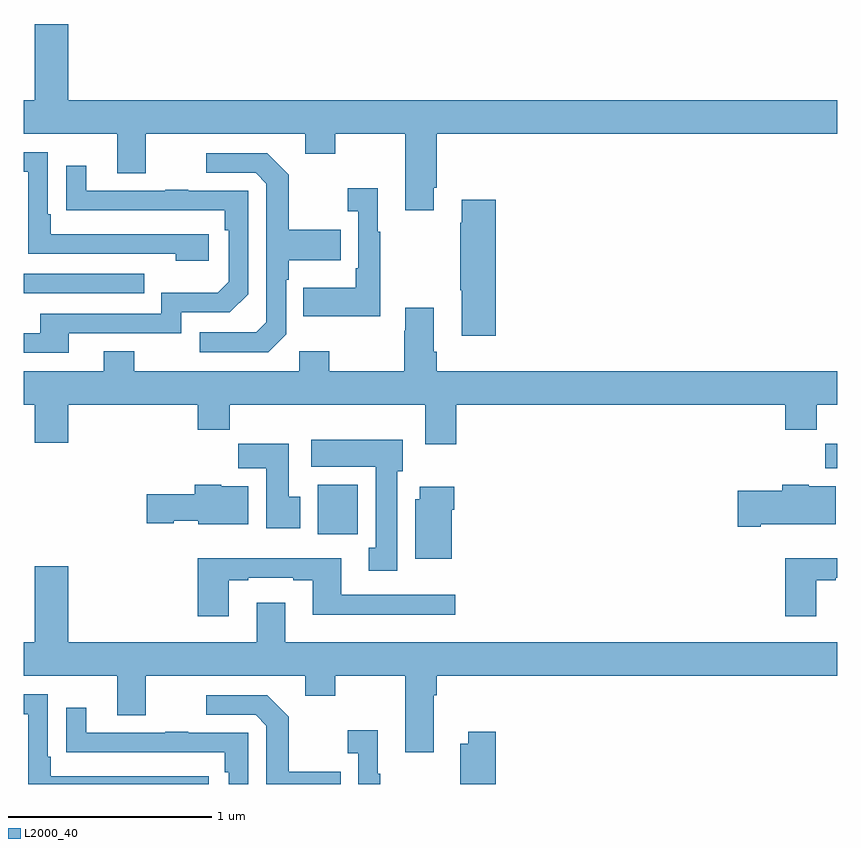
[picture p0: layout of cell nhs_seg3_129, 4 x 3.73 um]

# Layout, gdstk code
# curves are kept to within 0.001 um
import gdstk
lib = gdstk.Library(unit=1e-6, precision=1e-09)
def R(c, l, rs):  # rectangles x0, y0, x1, y1
    for r in rs: c.add(gdstk.rectangle(r[:2], r[2:], *l))
def P(c, l, *ps):  # polygons
    for p in ps: c.add(gdstk.Polygon(p, *l))
L2000_40 = (2000, 40)

nhs_seg3_129 = lib.new_cell('nhs_seg3_129')
R(nhs_seg3_129, L2000_40, [(118.445,685.628,118.642,685.87), (120.94,685.952,121,686.071), (117,686.811,117.593,686.907)])
P(nhs_seg3_129, L2000_40, [(119.017,687.331),(119.03,687.331),(119.03,687.596),(121,687.596),(121,687.76),(117.22,687.76),(117.22,688.135),(117.056,688.135),(117.056,687.76),(117,687.76),(117,687.596),(117.461,687.596),(117.461,687.402),(117.601,687.402),(117.601,687.596),(118.385,687.596),(118.385,687.497),(118.533,687.497),(118.533,687.596),(118.877,687.596),(118.877,687.219),(119.017,687.219)],
  [(117.91,687.102),(117.133,687.102),(117.133,687.199),(117.12,687.199),(117.12,687.504),(117,687.504),(117,687.408),(117.024,687.408),(117.024,687.006),(117.749,687.006),(117.749,686.972),(117.91,686.972)],
  [(118.29,686.61),(118.29,686.879),(118.303,686.879),(118.303,686.975),(118.559,686.975),(118.559,687.123),(118.303,687.123),(118.303,687.395),(118.197,687.501),(117.897,687.501),(117.897,687.405),(118.14,687.405),(118.194,687.351),(118.194,686.67),(118.143,686.619),(117.867,686.619),(117.867,686.523),(118.203,686.523)],
  [(117.223,686.616),(117.774,686.616),(117.774,686.718),(118.014,686.718),(118.104,686.808),(118.104,687.315),(117.809,687.315),(117.809,687.32),(117.697,687.32),(117.697,687.315),(117.307,687.315),(117.307,687.439),(117.211,687.439),(117.211,687.22),(117.988,687.219),(117.988,687.122),(118.008,687.122),(118.008,686.868),(117.955,686.815),(117.678,686.815),(117.678,686.712),(117.083,686.712),(117.083,686.616),(117,686.616),(117,686.52),(117.223,686.52)],
  [(118.753,687.115),(118.741,687.115),(118.741,687.328),(118.593,687.328),(118.593,687.215),(118.644,687.215),(118.644,686.935),(118.632,686.935),(118.632,686.839),(118.375,686.839),(118.375,686.699),(118.753,686.699)],
  [(119.321,687.271),(119.153,687.271),(119.153,687.158),(119.146,687.158),(119.146,686.827),(119.153,686.827),(119.153,686.604),(119.321,686.604)],
  [(119.126,686.264),(120.743,686.264),(120.743,686.14),(120.899,686.14),(120.899,686.264),(121,686.264),(121,686.428),(119.03,686.428),(119.03,686.524),(119.017,686.524),(119.017,686.74),(118.877,686.74),(118.877,686.627),(118.87,686.627),(118.87,686.428),(118.503,686.428),(118.503,686.527),(118.356,686.527),(118.356,686.428),(117.543,686.428),(117.543,686.527),(117.395,686.527),(117.395,686.428),(117,686.428),(117,686.264),(117.056,686.264),(117.056,686.076),(117.22,686.076),(117.22,686.264),(117.857,686.264),(117.857,686.14),(118.013,686.14),(118.013,686.264),(118.973,686.264),(118.973,686.07),(119.126,686.07)],
  [(118.837,685.938),(118.864,685.938),(118.864,686.092),(118.413,686.092),(118.413,685.958),(118.73,685.958),(118.73,685.562),(118.697,685.562),(118.697,685.449),(118.837,685.449)],
  [(118.36,685.812),(118.303,685.812),(118.303,686.071),(118.054,686.071),(118.054,685.952),(118.193,685.952),(118.193,685.656),(118.36,685.656)],
  [(120.622,685.676),(120.991,685.676),(120.991,685.864),(120.858,685.864),(120.858,685.87),(120.728,685.87),(120.728,685.842),(120.51,685.842),(120.51,685.664),(120.622,685.664)],
  [(118.105,685.864),(117.972,685.864),(117.972,685.87),(117.842,685.87),(117.842,685.824),(117.606,685.824),(117.606,685.682),(117.738,685.682),(117.738,685.694),(117.858,685.694),(117.858,685.676),(118.105,685.676)],
  [(119.104,685.748),(119.117,685.748),(119.117,685.861),(118.946,685.861),(118.946,685.8),(118.925,685.8),(118.925,685.508),(119.104,685.508)],
  [(120.895,685.401),(120.991,685.401),(120.991,685.413),(121,685.413),(121,685.51),(120.743,685.51),(120.743,685.224),(120.895,685.224)],
  [(118.009,685.401),(118.105,685.401),(118.105,685.413),(118.325,685.413),(118.325,685.401),(118.421,685.401),(118.421,685.232),(119.122,685.232),(119.122,685.329),(118.561,685.329),(118.561,685.51),(117.857,685.51),(117.857,685.224),(118.009,685.224)],
  [(119.017,684.836),(119.03,684.836),(119.03,684.932),(121,684.932),(121,685.096),(118.285,685.096),(118.285,685.291),(118.145,685.291),(118.145,685.096),(117.22,685.096),(117.22,685.471),(117.056,685.471),(117.056,685.096),(117,685.096),(117,684.932),(117.461,684.932),(117.461,684.738),(117.601,684.738),(117.601,684.932),(118.385,684.932),(118.385,684.833),(118.533,684.833),(118.533,684.932),(118.877,684.932),(118.877,684.555),(119.017,684.555)],
  [(117.91,684.438),(117.133,684.438),(117.133,684.535),(117.12,684.535),(117.12,684.84),(117,684.84),(117,684.744),(117.024,684.744),(117.024,684.4),(117.91,684.4)],
  [(118.559,684.459),(118.303,684.459),(118.303,684.731),(118.197,684.837),(117.897,684.837),(117.897,684.741),(118.14,684.741),(118.194,684.687),(118.194,684.4),(118.559,684.4)],
  [(118.104,684.651),(117.809,684.651),(117.809,684.656),(117.697,684.656),(117.697,684.651),(117.307,684.651),(117.307,684.775),(117.211,684.775),(117.211,684.556),(117.313,684.556),(117.313,684.555),(117.988,684.555),(117.988,684.458),(118.008,684.458),(118.008,684.4),(118.104,684.4)],
  [(118.753,684.451),(118.741,684.451),(118.741,684.664),(118.593,684.664),(118.593,684.551),(118.644,684.551),(118.644,684.4),(118.753,684.4)],
  [(119.321,684.658),(119.186,684.658),(119.186,684.598),(119.146,684.598),(119.146,684.4),(119.321,684.4)])

lib.write_gds('nhs_seg3_129.gds')
